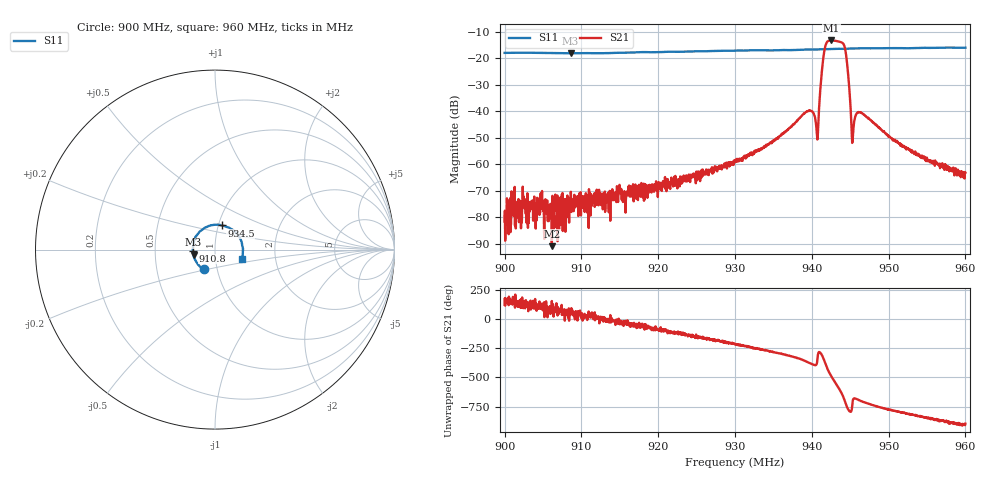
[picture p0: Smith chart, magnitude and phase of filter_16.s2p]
!Agilent Technologies,E5071C,MY46214392,A.11.36
!Date: Thu Feb 26 21:45:26 2026
!Data & Calibration Information:
!Freq	S11:NONE(--)	S21:NONE(--)	S12:NONE(--)	S22:NONE(--)
!PortZ  Port1:50+j0  Port2:50+j0
!Above PortZ is port z conversion or system Z0 setting when saving the data.
!When reading, reference impedance value at option line is always used.
# Hz S dB R 50
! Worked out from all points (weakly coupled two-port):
!   1601 points, 900 MHz to 960 MHz, reference 50 ohm
!   highest |S21| = -13.36 dB at 942.6 MHz (marker M1); lowest = -90.9 dB at 906.1 MHz (marker M2)
!   lowest |S11| = -18.2 dB at 908.6 MHz (marker M3), VSWR 1.28, Z = 39.3 - j2.3 ohm
!   |S11| at or under -10 dB: start of sweep to end of sweep
!   S12 and S22 are empty: the file has one direction only
!   S11 on the Smith chart (normalised r, x): 900 MHz: 0.86, -0.19; 910.8 MHz: 0.78, -0.01; 934.5 MHz: 1.04, +0.28; 960 MHz: 1.34, -0.14
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9e8  -18.04 -119.8  -81.59 119.1  -200.00 0.0  -200.00 0.0
9.010125e8  -18.03 -125.2  -73.27 121.6  -200.00 0.0  -200.00 0.0
9.0615e8  -18.09 -153.5  -90.90 152.1  -200.00 0.0  -200.00 0.0
9.085875e8  -18.19 -166.4  -76.82 46.3  -200.00 0.0  -200.00 0.0
9.100125e8  -18.18 -173.6  -73.76 7.8  -200.00 0.0  -200.00 0.0
9.107625e8  -18.13 -177.4  -78.23 -10.2  -200.00 0.0  -200.00 0.0
9.20025e8  -17.76 136.9  -67.18 -97.0  -200.00 0.0  -200.00 0.0
9.3e8  -17.19 92.7  -58.43 143.7  -200.00 0.0  -200.00 0.0
9.345375e8  -17.12 74.7  -52.13 83.5  -200.00 0.0  -200.00 0.0
9.400125e8  -16.76 54.9  -40.02 -26.1  -200.00 0.0  -200.00 0.0
9.406875e8  -16.74 52.6  -49.79 -9.9  -200.00 0.0  -200.00 0.0
9.409125e8  -16.73 51.9  -40.89 75.5  -200.00 0.0  -200.00 0.0
9.41625e8  -16.67 49.5  -17.44 3.4  -200.00 0.0  -200.00 0.0
9.425625e8  -16.54 45.8  -13.36 -132.5  -200.00 0.0  -200.00 0.0
9.436125e8  -16.50 41.7  -13.85 117.6  -200.00 0.0  -200.00 0.0
9.4425e8  -16.52 39.7  -15.52 27.8  -200.00 0.0  -200.00 0.0
9.446625e8  -16.46 38.3  -23.96 -43.6  -200.00 0.0  -200.00 0.0
9.4515e8  -16.40 36.4  -44.77 -66.5  -200.00 0.0  -200.00 0.0
9.45375e8  -16.38 35.5  -48.16 32.4  -200.00 0.0  -200.00 0.0
9.463125e8  -16.33 31.8  -40.38 21.2  -200.00 0.0  -200.00 0.0
9.50025e8  -16.25 18.0  -49.55 -54.6  -200.00 0.0  -200.00 0.0
9.6e8  -16.10 -19.0  -63.20 -174.4  -200.00 0.0  -200.00 0.0
